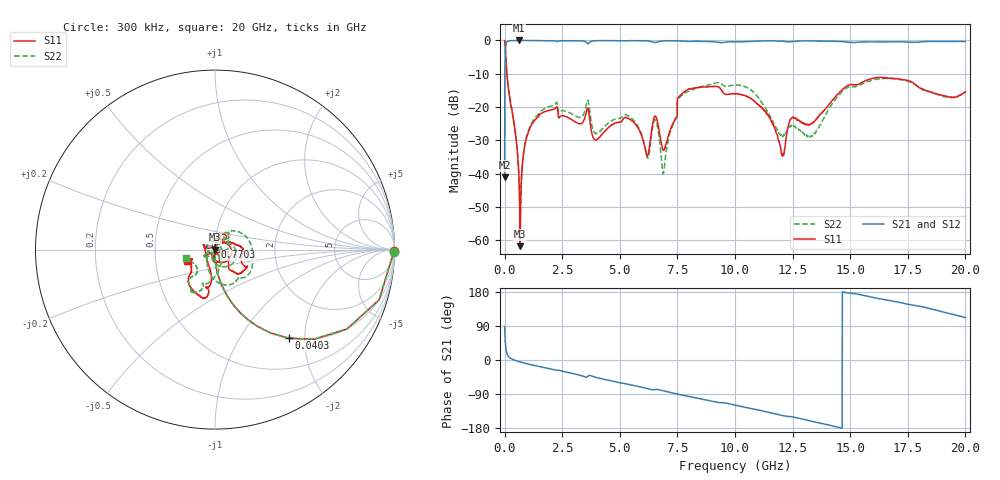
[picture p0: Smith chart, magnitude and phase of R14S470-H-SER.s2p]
!{R14S470}
!Johanson Technology Inc.
!www.johansontechnology.com
!Test Board Conditions:
!Substrate Type  RO4350B
!Substrate Thickness  20 mil
!Substrate Dk  3.66
!TL Type: GCPW
!TL Trace Width  36 mil
!TL Gap  12 mil
!Electrode orientation  Horizontal
!DUT TOPOLOGY	SERIES
!Mounting Pad LxW  26x36 mil
! Created Wed Nov 25 17:33:21 2020
! 2 Port Network Data from SP1.SP block
! freq  magS11  angS11  magS21  angS21  magS12  angS12  magS22  angS22
# khz S ma R 50
! decimated to every 10th point (10 MHz spacing) of the original 1 MHz Johanson file; values unchanged
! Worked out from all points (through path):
!   2001 points, 300 kHz to 20 GHz, reference 50 ohm
!   highest |S21| = 0.00 dB at 630.3 MHz (marker M1); lowest = -41.1 dB at 300 kHz (marker M2)
!   group delay of S21, straight-line fit = 34.5 ps
!   lowest |S11| = -61.8 dB at 670.3 MHz (marker M3), VSWR 1.00, Z = 49.9 - j0.0617 ohm
!   |S11| at or under -10 dB: 99.88 MHz to end of sweep
!   |S22| runs from -54.8 to 0.0 dB; largest |S21 - S12| = 0.014
!   S11 on the Smith chart (normalised r, x): 300 kHz: open; 40.3 MHz: 0.99, -1.67; 770.3 MHz: 1.00, +0.03; 20 GHz: 0.72, -0.10
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300  0.9968 -0.6  0.008817 88.6  0.008846 89.2  0.9949 -0.8
40300  0.6423 -50.2  0.7632 39.7  0.7642 39.7  0.6443 -50.1
130300  0.2444 -76.6  0.9673 13.1  0.9688 13.1  0.2453 -76.7
630300  0.007275 -97.9  0.9995 -4.4  0.9985 -4.5  0.00791 -79.9
670300  0.000812 -130.5  0.9992 -5.1  0.9989 -5.2  0.002193 -36.5
770300  0.0138 87.9  0.9989 -6.8  0.9989 -6.8  0.01392 73.2
990300  0.03873 83.2  0.9977 -10.1  0.9983 -10.1  0.03969 74.8
1560300  0.07926 73.3  0.9927 -17.9  0.9927 -18.0  0.08688 69.9
3340300  0.05662 49.0  0.9889 -41.2  0.9883 -41.2  0.07104 37.7
5350300  0.0679 -151.4  0.9907 -63.9  0.9894 -63.9  0.07389 -148.4
6190300  0.01883 -105.4  0.9838 -75.3  0.9847 -75.4  0.01801 -113.4
6670300  0.05219 -106.0  0.9592 -78.0  0.9581 -78.0  0.04346 -115.4
6900300  0.02226 -62.9  0.9855 -81.3  0.9843 -81.4  0.01022 -46.3
7600300  0.1471 -52.5  0.9813 -91.1  0.9819 -91.1  0.1399 47.9
1.00003e7  0.1577 -2.3  0.9534 -119.0  0.9521 -119.0  0.2141 -60.8
1.12803e7  0.08772 27.6  0.9847 -135.6  0.9826 -135.6  0.1015 -113.9
1.20603e7  0.0186 107.8  0.9737 -146.5  0.9738 -146.5  0.0369 -165.6
1.24503e7  0.067 160.5  0.9567 -149.8  0.9595 -149.8  0.05236 139.3
1.33403e7  0.05651 -150.7  0.9827 -161.8  0.984 -161.8  0.03705 6.4
1.48003e7  0.2 -98.0  0.9522 178.2  0.9529 178.0  0.1889 -100.9
1.66703e7  0.27 -108.1  0.9522 157.4  0.9454 157.2  0.2702 -117.9
2e7  0.1691 -157.1  0.9653 111.9  0.9639 112.3  0.1704 -164.0
